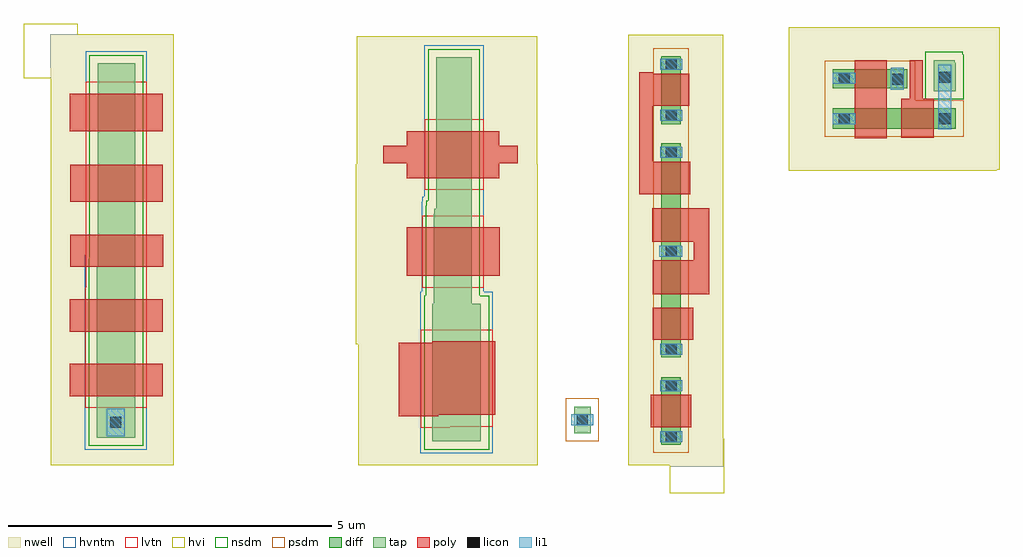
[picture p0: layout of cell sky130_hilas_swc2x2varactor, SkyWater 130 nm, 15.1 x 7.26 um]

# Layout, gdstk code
import gdstk
lib = gdstk.Library(unit=1e-6, precision=1e-09)
def R(c, l, rs):  # rectangles x0, y0, x1, y1
    for r in rs: c.add(gdstk.rectangle(r[:2], r[2:], *l))
nwell = (64, 20)
diff = (65, 20)
tap = (65, 44)
poly = (66, 20)
licon = (66, 44)
li1 = (67, 20)
hvi = (75, 20)
nsdm = (93, 44)
psdm = (94, 20)
hvntm = (125, 20)
lvtn = (125, 44)

sky130_hilas_swc2x2varac = lib.new_cell('sky130_hilas_swc2x2varactor')
R(sky130_hilas_swc2x2varac, nwell, [(9.59,0,10.41,0.02), (0.01,0.02,1.91,6.17), (4.76,0.02,7.54,1.89), (8.94,0.02,10.41,6.68), (4.72,1.89,7.54,4.68), (11.42,4.58,14.64,4.59), (11.42,4.59,14.68,6.8), (4.74,4.68,7.53,6.66), (0,6.17,1.91,6.69)])
R(sky130_hilas_swc2x2varac, diff, [(9.45,0.34,9.75,1.38), (9.45,1.69,9.75,5), (12.1,5.23,14,5.54), (9.45,5.3,9.75,6.35), (12.1,5.85,13.25,6.15)])
R(sky130_hilas_swc2x2varac, tap, [(5.91,0.39,6.66,2.52), (0.72,0.45,1.31,3.09), (8.1,0.52,8.36,0.93), (5.93,2.52,6.52,3.91), (0.73,3.09,1.31,6.24), (5.94,3.91,6.52,3.99), (5.97,3.99,6.52,6.33), (13.66,5.81,14,6.25), (13.66,6.25,13.99,6.29)])
R(sky130_hilas_swc2x2varac, poly, [(9.29,0.61,9.91,1.11), (5.39,0.78,6,0.8), (5.39,0.8,6.88,1.92), (0.3,1.09,1.74,1.59), (5.91,1.92,6.88,1.94), (9.32,1.96,9.94,2.46), (0.3,2.09,1.74,2.59), (9.32,2.67,9.94,2.75), (9.95,2.67,10.19,2.75), (9.32,2.75,10.19,3.19), (5.51,2.95,6.95,3.7), (0.31,3.09,1.75,3.59), (9.95,3.19,10.19,3.48), (9.31,3.48,10.19,4), (0.31,4.1,1.74,4.67), (9.11,4.21,9.9,4.72), (5.51,4.46,6.94,4.69), (5.15,4.69,7.23,4.96), (9.11,4.72,9.32,5.58), (5.51,4.96,6.94,5.19), (12.44,5.08,12.94,6.29), (13.16,5.09,13.66,5.69), (0.3,5.19,1.74,5.77), (9.11,5.58,9.88,6.08), (13.29,5.69,13.49,6.29), (9.11,6.08,9.32,6.1)])
R(sky130_hilas_swc2x2varac, licon, [(9.515,0.38,9.685,0.55), (0.925,0.6,1.095,0.77), (8.145,0.64,8.315,0.81), (9.515,1.17,9.685,1.34), (9.515,1.73,9.685,1.9), (9.515,3.25,9.685,3.42), (9.515,4.78,9.685,4.95), (12.195,5.3,12.365,5.47), (13.745,5.3,13.915,5.47), (9.515,5.35,9.685,5.52), (13.02,5.91,13.19,6.08), (12.195,5.92,12.365,6.09), (13.745,5.935,13.915,6.105), (9.515,6.14,9.685,6.31)])
R(sky130_hilas_swc2x2varac, li1, [(9.43,0.38,9.77,0.55), (0.87,0.47,1.15,0.9), (8.06,0.64,8.4,0.81), (9.43,1.17,9.77,1.34), (9.43,1.73,9.77,1.9), (9.42,3.25,9.77,3.42), (9.43,4.78,9.77,4.95), (13.73,5.22,13.93,6.22), (12.1,5.3,12.45,5.47), (9.43,5.35,9.77,5.52), (13,5.83,13.2,6.17), (12.1,5.92,12.45,6.09), (9.43,6.14,9.77,6.31)])
R(sky130_hilas_swc2x2varac, hvi, [(9.58,-0.41,10.42,0.02), (0.01,0.02,1.91,6.01), (4.76,0.02,7.54,1.89), (8.94,0.02,10.42,0.43), (8.94,0.43,10.41,6.68), (4.72,1.89,7.54,4.68), (11.42,4.58,14.64,4.59), (11.42,4.59,14.68,6.8), (4.74,4.68,7.53,6.66), (-0.415,6.01,1.91,6.69), (-0.415,6.69,0.425,6.85)])
R(sky130_hilas_swc2x2varac, nsdm, [(5.785,0.265,6.785,2.645), (0.595,0.325,1.435,3.215), (5.805,2.645,6.645,4.035), (0.605,3.215,1.435,6.365), (5.815,4.035,6.645,4.115), (5.845,4.115,6.645,6.455), (13.535,5.685,14.125,6.375), (13.535,6.375,14.115,6.415)])
R(sky130_hilas_swc2x2varac, psdm, [(9.325,0.215,9.875,6.475), (7.975,0.395,8.485,1.055), (11.975,5.105,14.125,5.665), (11.975,5.665,13.375,6.275)])
R(sky130_hilas_swc2x2varac, hvntm, [(5.725,0.205,6.845,2.705), (0.535,0.265,1.495,3.275), (5.745,2.705,6.705,4.095), (0.545,3.275,1.495,6.425), (5.755,4.095,6.705,4.175), (5.785,4.175,6.705,6.515)])
R(sky130_hilas_swc2x2varac, lvtn, [(5.73,0.6,6.18,0.62), (5.73,0.62,6.84,2.12), (0.54,0.91,1.49,2.77), (0.55,2.77,1.49,5.95), (5.75,2.77,6.7,3.88), (5.79,4.28,6.7,5.37)])

lib.write_gds('sky130_hilas_swc2x2varactor.gds')
